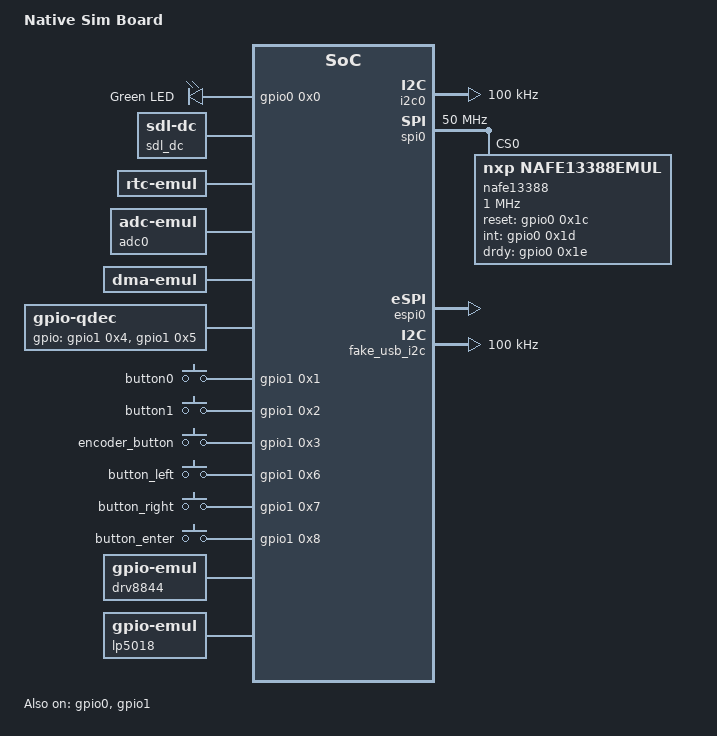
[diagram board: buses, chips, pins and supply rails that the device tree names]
/dts-v1/;

/ {
	#address-cells = < 0x1 >;
	#size-cells = < 0x1 >;
	model = "Native Sim Board";
	compatible = "zephyr,posix";
	chosen {
		zephyr,console = &uart0;
		zephyr,shell-uart = &uart0;
		zephyr,uart-mcumgr = &uart0;
		zephyr,flash = &flash0;
		zephyr,entropy = &rng;
		zephyr,flash-controller = &flashcontroller0;
		zephyr,display = &sdl_dc;
		zephyr,canbus = &can_loopback0;
		zephyr,code-partition = &slot0_partition;
		zephyr,touch = &input_sdl_touch;
	};
	aliases {
		eeprom-0 = &eeprom0;
		i2c-0 = &i2c0;
		spi-0 = &spi0;
		led0 = &led0;
		rtc = &rtc;
		sw0 = &button0;
		debug-uart = &uart0;
		led-green = &led0;
		led-red = &led0;
		drv8844 = &drv8844;
		i2c = &i2c0;
		button-led-driver = &lp5018;
		can1-stb = &can1_stb;
		digital-in-port = &gpio0;
		gpio-expander = &gpio0;
		modbus = &modbus0;
		power-tft-en = &display_power;
		backlight-led-en = &bkled;
		display-reset = &display_reset;
		power-5v-en = &power_5v_enable;
		nafe-pwr-en = &nafe_pwr_en;
		vref-ctrl = &vref_ctrl;
		bm0-btn = &bm0_button;
		bm1-btn = &bm1_button;
		buzzer-en = &buzzer_en;
		board-button-0 = &board_button_0;
		board-button-1 = &board_button_1;
		board-button-2 = &board_button_2;
		board-button-3 = &board_button_3;
		board-button-4 = &board_button_4;
		usb-id-input = &usb_id_input;
		ignition-input = &ignition_input;
		digital-in-1-hi = &digital_in_1_hi;
		digital-in-1-low = &digital_in_1_low;
		digital-in-2-hi = &digital_in_2_hi;
		digital-in-2-low = &digital_in_2_low;
		digital-in-3-hi = &digital_in_3_hi;
		digital-in-3-low = &digital_in_3_low;
		digital-in-4-hi = &digital_in_4_hi;
		digital-in-4-low = &digital_in_4_low;
	};
	leds {
		compatible = "gpio-leds";
		led0: led_0 {
			gpios = < &gpio0 0x0 0x0 >;
			label = "Green LED";
		};
	};
	lvgl_pointer {
		compatible = "zephyr,lvgl-pointer-input";
		input = < &input_sdl_touch >;
	};
	cpus {
		#address-cells = < 0x1 >;
		#size-cells = < 0x0 >;
		cpu0: cpu@0 {
			compatible = "zephyr,native-posix-cpu";
			reg = < 0x0 >;
		};
	};
	flashcontroller0: flash-controller@0 {
		compatible = "zephyr,sim-flash";
		reg = < 0x0 0x200000 >;
		#address-cells = < 0x1 >;
		#size-cells = < 0x1 >;
		erase-value = < 0xff >;
		flash0: flash@0 {
			status = "okay";
			compatible = "soc-nv-flash";
			erase-block-size = < 0x1000 >;
			write-block-size = < 0x1 >;
			reg = < 0x0 0x200000 >;
			partitions {
				compatible = "fixed-partitions";
				#address-cells = < 0x1 >;
				#size-cells = < 0x1 >;
				boot_partition: partition@0 {
					label = "mcuboot";
					reg = < 0x0 0xc000 >;
				};
				slot0_partition: partition@c000 {
					label = "image-0";
					reg = < 0xc000 0x69000 >;
				};
				slot1_partition: partition@75000 {
					label = "image-1";
					reg = < 0x75000 0x69000 >;
				};
				scratch_partition: partition@de000 {
					label = "image-scratch";
					reg = < 0xde000 0x1e000 >;
				};
				storage_partition: partition@fc000 {
					label = "storage";
					reg = < 0xfc000 0x4000 >;
				};
			};
		};
	};
	eeprom0: eeprom {
		status = "okay";
		compatible = "zephyr,sim-eeprom";
		size = < 0x8000 >;
	};
	i2c0: i2c@100 {
		status = "okay";
		compatible = "zephyr,i2c-emul-controller";
		clock-frequency = < 0x186a0 >;
		#address-cells = < 0x1 >;
		#size-cells = < 0x0 >;
		#forward-cells = < 0x1 >;
		reg = < 0x100 0x4 >;
	};
	spi0: spi@200 {
		status = "okay";
		compatible = "zephyr,spi-emul-controller";
		clock-frequency = < 0x2faf080 >;
		#address-cells = < 0x1 >;
		#size-cells = < 0x0 >;
		reg = < 0x200 0x4 >;
		nafe13388: nafe13388@0 {
			status = "okay";
			zephyr,deferred-init;
			compatible = "nxp,nafe13388emul";
			reset-gpios = < &gpio0 0x1c 0x0 >;
			int-gpios = < &gpio0 0x1d 0x0 >;
			drdy-gpios = < &gpio0 0x1e 0x0 >;
			spi-addr = < 0x0 >;
			reg = < 0x0 >;
			spi-max-frequency = < 0xf4240 >;
		};
	};
	espi0: espi@300 {
		status = "okay";
		compatible = "zephyr,espi-emul-controller";
		reg = < 0x300 0x4 >;
		#address-cells = < 0x1 >;
		#size-cells = < 0x0 >;
	};
	uart0: uart {
		status = "okay";
		compatible = "zephyr,native-tty-uart";
		current-speed = < 0x1c200 >;
		serial-port = "/dev/pts/1";
	};
	uart1: uart_1 {
		status = "okay";
		compatible = "zephyr,native-posix-uart";
		current-speed = < 0x0 >;
	};
	rng: rng {
		status = "okay";
		compatible = "zephyr,native-posix-rng";
	};
	counter0: counter {
		status = "okay";
		compatible = "zephyr,native-posix-counter";
	};
	gpio0: gpio@800 {
		status = "okay";
		compatible = "zephyr,gpio-emul";
		reg = < 0x800 0x4 >;
		rising-edge;
		falling-edge;
		high-level;
		low-level;
		gpio-controller;
		#gpio-cells = < 0x2 >;
		ngpios = < 0x20 >;
		phandle = < 0x1 >;
	};
	gpio1: gpio@900 {
		status = "okay";
		compatible = "zephyr,gpio-emul";
		reg = < 0x900 0x4 >;
		rising-edge;
		falling-edge;
		high-level;
		low-level;
		gpio-controller;
		#gpio-cells = < 0x2 >;
		ngpios = < 0x9 >;
		phandle = < 0x3 >;
		sdl_gpio {
			status = "okay";
			compatible = "zephyr,gpio-emul-sdl";
			scancodes = < 0x0 0x15 0x5 0x1e 0x1f 0x20 0x50 0x4f 0x28 >;
		};
	};
	zephyr_udc0: udc0 {
		compatible = "zephyr,native-posix-udc";
	};
	sdl_dc: sdl_dc {
		compatible = "zephyr,sdl-dc";
		height = < 0x1db >;
		width = < 0x244 >;
	};
	input_sdl_touch: input-sdl-touch {
		compatible = "zephyr,input-sdl-touch";
		phandle = < 0x2 >;
	};
	can_loopback0: can_loopback0 {
		status = "disabled";
		compatible = "zephyr,can-loopback";
	};
	can0: can {
		status = "okay";
		compatible = "zephyr,native-linux-can";
		host-interface = "zcan0";
	};
	rtc: rtc {
		status = "okay";
		compatible = "zephyr,rtc-emul";
		alarms-count = < 0x2 >;
	};
	adc0: adc {
		compatible = "zephyr,adc-emul";
		nchannels = < 0x2 >;
		#io-channel-cells = < 0x1 >;
		status = "okay";
	};
	dma: dma {
		compatible = "zephyr,dma-emul";
		#dma-cells = < 0x1 >;
		stack-size = < 0x1000 >;
	};
	qdec {
		compatible = "gpio-qdec";
		gpios = < &gpio1 0x4 0x0 >, < &gpio1 0x5 0x0 >;
		steps-per-period = < 0x4 >;
		zephyr,axis = < 0x8 >;
		sample-time-us = < 0x7d0 >;
		idle-timeout-ms = < 0xc8 >;
	};
	keys: keys {
		compatible = "gpio-keys";
		phandle = < 0x4 >;
		button0: button0 {
			gpios = < &gpio1 0x1 0x0 >;
			zephyr,code = < 0x13 >;
		};
		button1: button1 {
			gpios = < &gpio1 0x2 0x0 >;
			zephyr,code = < 0x30 >;
		};
		encoder_button: encoder_button {
			gpios = < &gpio1 0x3 0x0 >;
			zephyr,code = < 0xb >;
		};
		button_left: button_left {
			gpios = < &gpio1 0x6 0x0 >;
			zephyr,code = < 0x69 >;
		};
		button_right: button_right {
			gpios = < &gpio1 0x7 0x0 >;
			zephyr,code = < 0x6a >;
		};
		button_enter: button_enter {
			gpios = < &gpio1 0x8 0x0 >;
			zephyr,code = < 0x1c >;
		};
	};
	lvgl_button_input {
		compatible = "zephyr,lvgl-button-input";
		input = < &keys >;
		input-codes = < 0x30 >;
		coordinates = < 0xa0 0x78 >;
	};
	lvgl_encoder_input {
		compatible = "zephyr,lvgl-encoder-input";
		rotation-input-code = < 0x8 >;
		button-input-code = < 0xb >;
	};
	lvgl_keypad_input {
		compatible = "zephyr,lvgl-keypad-input";
		input = < &keys >;
		input-codes = < 0x69 0x6a 0x1c >;
		lvgl-codes = < 0x14 0x13 0xa >;
	};
	lpuart10: lpuart_10 {
		status = "okay";
		compatible = "zephyr,native-posix-uart";
		current-speed = < 0x0 >;
		modbus0: modbus_0 {
			compatible = "zephyr,modbus-serial";
			status = "okay";
			de-gpios = < &gpio0 0x1a 0x0 >;
			re-gpios = < &gpio0 0x1b 0x1 >;
		};
	};
	drv8844: drv8844 {
		status = "okay";
		compatible = "zephyr,gpio-emul";
		rising-edge;
		falling-edge;
		high-level;
		low-level;
		gpio-controller;
		#gpio-cells = < 0x2 >;
	};
	lp5018: lp5018 {
		status = "okay";
		compatible = "zephyr,gpio-emul";
		rising-edge;
		falling-edge;
		high-level;
		low-level;
		gpio-controller;
		#gpio-cells = < 0x2 >;
	};
	fake_usb_i2c: i2c@21 {
		status = "okay";
		compatible = "zephyr,i2c-emul-controller";
		clock-frequency = < 0x186a0 >;
		#address-cells = < 0x1 >;
		#size-cells = < 0x0 >;
		reg = < 0x21 0x4 >;
	};
	fake_io {
		compatible = "gpio-leds";
		status = "disabled";
		display_power: display_power {
			label = "Display Power";
			gpios = < &gpio0 0x19 0x0 >;
		};
		bkled: bkled {
			label = "Backlight LED";
			gpios = < &gpio0 0x1 0x0 >;
		};
		display_reset: display_reset {
			label = "Display Reset";
			gpios = < &gpio0 0x2 0x1 >;
		};
		power_5v_enable: power_5v_enable {
			label = "5V Power Enable";
			gpios = < &gpio0 0x3 0x0 >;
		};
		nafe_pwr_en: nafe_pwr_en {
			label = "NAFE Power Enable";
			gpios = < &gpio0 0x4 0x0 >;
		};
		can1_stb: can1_stb {
			label = "CAN1 Transceiver STB";
			gpios = < &gpio0 0x5 0x1 >;
			status = "okay";
		};
		vref_ctrl: vref_ctrl {
			label = "VREF Control";
			gpios = < &gpio0 0x6 0x0 >;
		};
		bm0_button: bm0_button {
			label = "Boot Mode 0 Button";
			gpios = < &gpio0 0x7 0x1 >;
		};
		bm1_button: bm1_button {
			label = "Boot Mode 1 Button";
			gpios = < &gpio0 0x8 0x1 >;
		};
		buzzer_en: buzzer_en {
			label = "Buzzer Enable";
			gpios = < &gpio0 0x9 0x0 >;
		};
		board_button_0: board_button_0 {
			label = "Button 0";
			gpios = < &gpio0 0x2 0x1 >;
			status = "okay";
		};
		board_button_1: board_button_1 {
			label = "Button 1";
			gpios = < &gpio0 0x6 0x1 >;
			status = "okay";
		};
		board_button_2: board_button_2 {
			label = "Button 2";
			gpios = < &gpio0 0x4 0x1 >;
			status = "okay";
		};
		board_button_3: board_button_3 {
			label = "Button 3";
			gpios = < &gpio0 0x5 0x1 >;
			status = "okay";
		};
		board_button_4: board_button_4 {
			label = "Button 4";
			gpios = < &gpio0 0x3 0x1 >;
			status = "okay";
		};
		usb_id_input: usb_id_input {
			label = "USB ID Input";
			gpios = < &gpio0 0xe 0x1 >;
		};
		ignition_input: ignition_input {
			label = "Ignition Input";
			gpios = < &gpio0 0xf 0x1 >;
		};
		digital_in_1_hi: digital_in_1_hi {
			label = "DIN1 HI";
			gpios = < &gpio0 0x10 0x1 >;
		};
		digital_in_1_low: digital_in_1_low {
			label = "DIN1 LO";
			gpios = < &gpio0 0x11 0x1 >;
		};
		digital_in_2_hi: digital_in_2_hi {
			label = "DIN2 HI";
			gpios = < &gpio0 0x12 0x1 >;
		};
		digital_in_2_low: digital_in_2_low {
			label = "DIN2 LO";
			gpios = < &gpio0 0x13 0x1 >;
		};
		digital_in_3_hi: digital_in_3_hi {
			label = "DIN3 HI";
			gpios = < &gpio0 0x14 0x1 >;
		};
		digital_in_3_low: digital_in_3_low {
			label = "DIN3 LO";
			gpios = < &gpio0 0x15 0x1 >;
		};
		digital_in_4_hi: digital_in_4_hi {
			label = "DIN4 HI";
			gpios = < &gpio0 0x16 0x1 >;
		};
		digital_in_4_low: digital_in_4_low {
			label = "DIN4 LO";
			gpios = < &gpio0 0x17 0x1 >;
		};
	};
};
